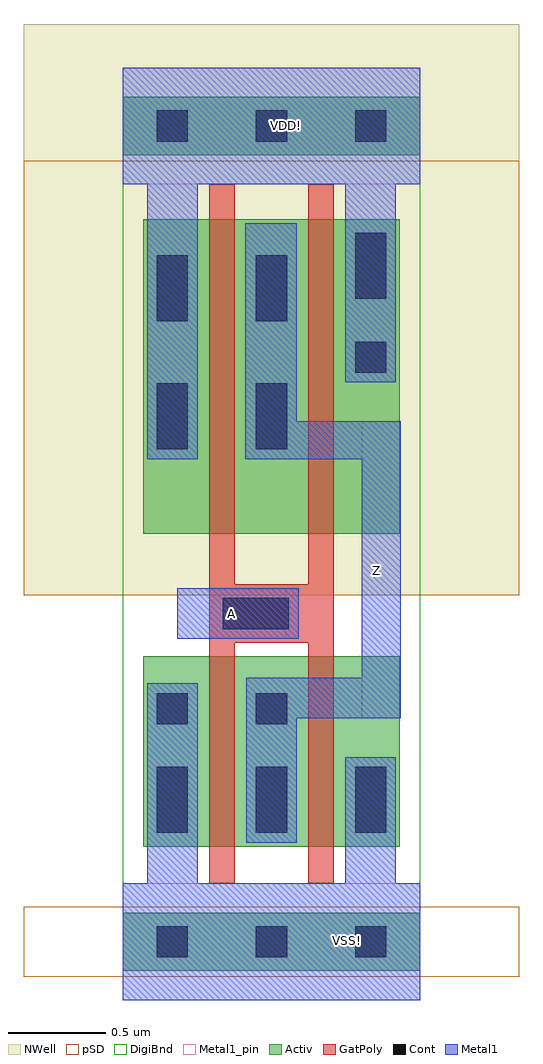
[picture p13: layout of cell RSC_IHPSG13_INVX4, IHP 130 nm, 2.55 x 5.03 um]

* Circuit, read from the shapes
.subckt RSC_IHPSG13_INVX4 A VDD! VSS! Z
XM1 Z A VSS! VSS! sg13_lv_nmos w=0.98u l=0.13u m=2
XM2 Z A VDD! VDD! sg13_lv_pmos w=1.62u l=0.13u m=2
.ends

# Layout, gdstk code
import gdstk
lib = gdstk.Library(unit=1e-6, precision=1e-09)
def R(c, l, rs):  # rectangles x0, y0, x1, y1
    for r in rs: c.add(gdstk.rectangle(r[:2], r[2:], *l))
def A(c, l, x, y, w, h, nx, ny, dx, dy):  # array of equal rectangles
    R(c, l, [(x+i*dx, y+j*dy, x+i*dx+w, y+j*dy+h) for i in range(nx) for j in range(ny)])
def P(c, l, *ps):  # polygons
    for p in ps: c.add(gdstk.Polygon(p, *l))
Activ = (1, 0)
GatPoly = (5, 0)
Cont = (6, 0)
Metal1 = (8, 0)
Metal1_pin = (8, 2)
pSD = (14, 0)
DigiBnd = (16, 0)
NWell = (31, 0)

rsc_ihpsg13_invx4 = lib.new_cell('RSC_IHPSG13_INVX4')
R(rsc_ihpsg13_invx4, Activ, [(0,-0.15,1.53,0.15), (0.105,0.49,1.425,1.47), (0.105,2.1,1.425,3.72), (0,4.05,1.53,4.35)])
P(rsc_ihpsg13_invx4, GatPoly, [(0.445,0.3),(0.445,3.9),(0.575,3.9),(0.575,1.84),(0.955,1.84),(0.955,3.9),(1.085,3.9),(1.085,0.3),(0.955,0.3),(0.955,1.54),(0.575,1.54),(0.575,0.3)])
A(rsc_ihpsg13_invx4, Cont, 0.175, -0.08, 0.16, 0.16, 3, 2, 0.51, 4.2)
A(rsc_ihpsg13_invx4, Cont, 0.175, 0.56, 0.16, 0.34, 3, 1, 0.51, 0)
R(rsc_ihpsg13_invx4, Cont, [(0.175,1.12,0.335,1.28), (0.685,1.12,0.845,1.28), (0.515,1.61,0.855,1.77), (0.175,2.535,0.335,2.875), (0.685,2.535,0.845,2.875), (1.195,2.93,1.355,3.09), (0.175,3.195,0.335,3.535), (0.685,3.195,0.845,3.535), (1.195,3.31,1.355,3.65)])
R(rsc_ihpsg13_invx4, Metal1, [(0.28,1.56,0.905,1.82)])
P(rsc_ihpsg13_invx4, Metal1, [(0.635,0.51),(0.635,1.36),(1.23,1.36),(1.23,2.485),(0.63,2.485),(0.63,3.7),(0.895,3.7),(0.895,2.68),(1.43,2.68),(1.43,1.15),(0.895,1.15),(0.895,0.51)],
  [(0,-0.3),(0,0.3),(0.125,0.3),(0.125,1.33),(0.385,1.33),(0.385,0.3),(1.145,0.3),(1.145,0.95),(1.405,0.95),(1.405,0.3),(1.53,0.3),(1.53,-0.3)],
  [(0.125,2.485),(0.125,3.9),(0,3.9),(0,4.5),(1.53,4.5),(1.53,3.9),(1.405,3.9),(1.405,2.88),(1.145,2.88),(1.145,3.9),(0.385,3.9),(0.385,2.485)])
R(rsc_ihpsg13_invx4, Metal1_pin, [(0,-0.3,1.53,0.3), (1.23,1.15,1.43,2.68), (0.28,1.56,0.84,1.82), (0,3.9,1.53,4.5)])
R(rsc_ihpsg13_invx4, pSD, [(-0.51,-0.18,2.04,0.18), (-0.51,1.785,2.04,4.02)])
R(rsc_ihpsg13_invx4, DigiBnd, [(0,-0.3,1.53,4.5)])
R(rsc_ihpsg13_invx4, NWell, [(-0.51,1.785,2.04,4.725)])
rsc_ihpsg13_invx4.add(gdstk.Label('Z', (1.305,1.91), layer=8, texttype=2))
rsc_ihpsg13_invx4.add(gdstk.Label('A', (0.56,1.69), layer=8, texttype=2))
rsc_ihpsg13_invx4.add(gdstk.Label('VSS!', (1.155,0.005), layer=8, texttype=2))
rsc_ihpsg13_invx4.add(gdstk.Label('VDD!', (0.84,4.2), layer=8, texttype=2))

lib.write_gds('RSC_IHPSG13_INVX4.gds')
